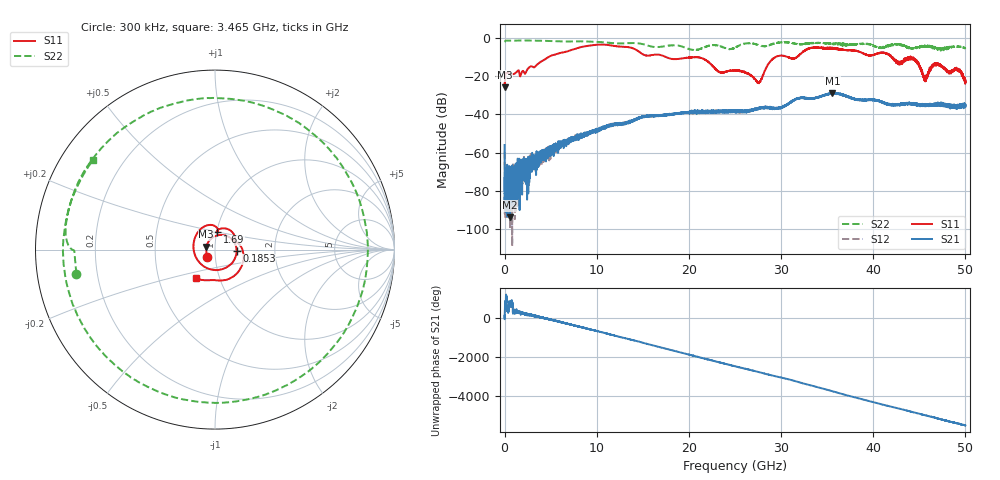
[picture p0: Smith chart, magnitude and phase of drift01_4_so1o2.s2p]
!Created with skrf (http://scikit-rf.org).
# Hz S RI R 50.0
!freq ReS11 ImS11 ReS21 ImS21 ReS12 ImS12 ReS22 ImS22
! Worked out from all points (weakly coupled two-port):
!   10001 points, 300 kHz to 50 GHz, reference 50 ohm
!   highest |S21| = -28.84 dB at 35.57 GHz (marker M1); lowest = -93.7 dB at 575.3 MHz (marker M2)
!   lowest |S11| = -25.7 dB at 5.3 MHz (marker M3), VSWR 1.11, Z = 45.3 + j1.42 ohm
!   |S11| at or under -10 dB: start of sweep to 4.764 GHz; 20.67 GHz to 29.41 GHz (8.749 GHz wide, 34.9 % of centre); 44.05 GHz to end of sweep (the widest 3 of 9)
!   |S22| runs from -6.7 to -1.4 dB; largest |S21 - S12| = 0.0047
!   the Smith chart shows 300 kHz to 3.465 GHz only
!   S11 on the Smith chart (normalised r, x): 300 kHz: 0.91, -0.08; 185.3 MHz: 1.27, -0.02; 1.69 GHz: 1.00, +0.20; 3.465 GHz: 0.77, -0.26
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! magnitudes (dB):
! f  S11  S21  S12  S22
! 300 kHz  -23.9  -56.0  -59.5  -2.1
! 5.3 MHz  -25.7  -78.2  -76.3  -2.1
! 185.3 MHz  -18.4  -83.8  -74.7  -1.4
! 575.3 MHz  -18.8  -93.7  -68.8  -1.4
! 1.69 GHz  -20.1  -65.4  -66.4  -1.4
! 3.465 GHz  -14.3  -66.6  -64.0  -1.5
! 8.335 GHz  -4.8  -51.1  -50.8  -1.8
! 16.67 GHz  -8.7  -40.6  -40.6  -4.8
! 21.15 GHz  -10.3  -38.5  -38.7  -5.8
! 25 GHz  -17.1  -38.4  -38.4  -5.1
! 27.59 GHz  -23.7  -37.0  -36.7  -3.9
! 29.27 GHz  -10.4  -37.0  -37.0  -2.8
! 31.45 GHz  -10.8  -32.3  -32.3  -3.0
! 33.34 GHz  -5.2  -31.6  -31.6  -2.7
! 35.57 GHz  -5.2  -28.8  -28.8  -2.9
! 41.67 GHz  -8.9  -34.7  -34.7  -4.1
! 42.74 GHz  -12.7  -34.8  -34.8  -3.3
! 44.4 GHz  -11.0  -34.9  -35.0  -5.3
! 45.65 GHz  -20.9  -35.1  -35.2  -4.4
! 46.87 GHz  -13.5  -34.3  -34.6  -5.5
! 49.25 GHz  -17.1  -35.4  -36.1  -4.6
! 50 GHz  -22.0  -35.4  -35.4  -5.4
